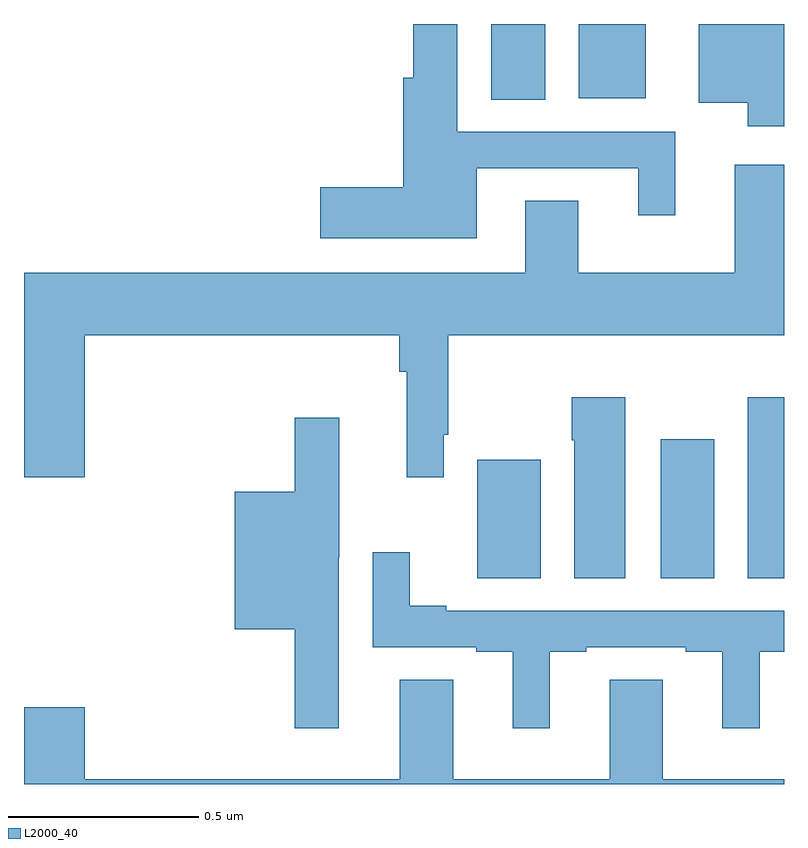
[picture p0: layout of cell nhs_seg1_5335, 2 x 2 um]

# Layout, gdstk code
import gdstk
lib = gdstk.Library(unit=1e-6, precision=1e-09)
def R(c, l, rs):  # rectangles x0, y0, x1, y1
    for r in rs: c.add(gdstk.rectangle(r[:2], r[2:], *l))
def P(c, l, *ps):  # polygons
    for p in ps: c.add(gdstk.Polygon(p, *l))
L2000_40 = (2000, 40)

nhs_seg1_5335 = lib.new_cell('nhs_seg1_5335')
R(nhs_seg1_5335, L2000_40, [(178.193,569.74,178.36,570.052), (178.676,569.74,178.816,570.106), (178.904,569.74,179,570.217), (178.229,571,178.372,571.199), (178.46,571.004,178.636,571.199)])
P(nhs_seg1_5335, L2000_40, [(179,571.199),(178.775,571.199),(178.775,570.992),(178.904,570.992),(178.904,570.93),(179,570.93)],
  [(178.192,570.819),(178.616,570.819),(178.616,570.696),(178.714,570.696),(178.714,570.915),(178.14,570.915),(178.14,571.199),(178.024,571.199),(178.024,571.057),(177.998,571.057),(177.998,570.77),(177.78,570.77),(177.78,570.635),(178.192,570.635)],
  [(177.16,570.38),(177.988,570.38),(177.988,570.284),(178.007,570.284),(178.007,570.006),(178.104,570.006),(178.104,570.118),(178.117,570.118),(178.117,570.38),(179,570.38),(179,570.829),(178.871,570.829),(178.871,570.544),(178.459,570.544),(178.459,570.734),(178.319,570.734),(178.319,570.544),(177,570.544),(177,570.006),(177.16,570.006)],
  [(178.582,570.217),(178.441,570.217),(178.441,570.104),(178.448,570.104),(178.448,569.74),(178.582,569.74)],
  [(177.828,569.796),(177.83,569.796),(177.83,570.163),(177.712,570.163),(177.712,569.968),(177.554,569.968),(177.554,569.606),(177.712,569.606),(177.712,569.346),(177.828,569.346)],
  [(178.384,569.547),(178.48,569.547),(178.48,569.559),(178.742,569.559),(178.742,569.547),(178.838,569.547),(178.838,569.346),(178.936,569.346),(178.936,569.547),(179,569.547),(179,569.655),(178.111,569.655),(178.111,569.668),(178.015,569.668),(178.015,569.809),(177.918,569.809),(177.918,569.559),(178.19,569.559),(178.19,569.547),(178.286,569.547),(178.286,569.346),(178.384,569.346)],
  [(179,569.212),(178.681,569.212),(178.681,569.474),(178.541,569.474),(178.541,569.212),(178.129,569.212),(178.129,569.474),(177.989,569.474),(177.989,569.212),(177.16,569.212),(177.16,569.401),(177,569.401),(177,569.199),(179,569.199)])

lib.write_gds('nhs_seg1_5335.gds')
